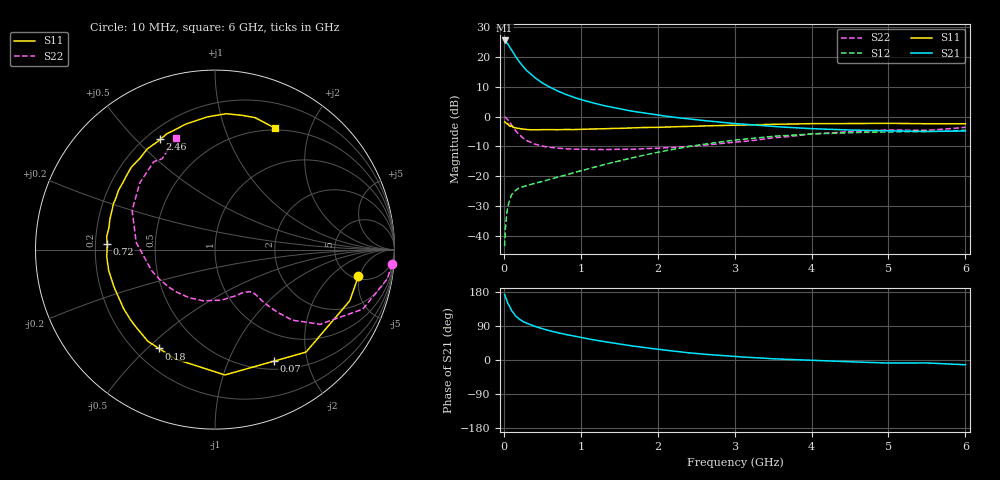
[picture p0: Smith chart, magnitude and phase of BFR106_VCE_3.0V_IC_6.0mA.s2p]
! Infineon Technologies  Discrete & RF Semiconductors
! BFR106
! VCE =  3.0 V,  IC =  6.0 mA
! Common Emitter S-Parameters:  Nov 2015
# GHz  S  MA  R  50
!  f  S11  S21  S12  S22
! GHz  MAG  ANG  MAG  ANG  MAG  ANG  MAG  ANG
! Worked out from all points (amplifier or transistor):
!   210 points, 10 MHz to 6 GHz, reference 50 ohm
!   highest |S21| = 25.5 dB at 10 MHz (marker M1)
!   |S21| within 3 dB of that: start of sweep to 96.81 MHz
!   unconditionally stable (mu >= 1): 593.8 MHz to 2.096 GHz; 4.669 GHz to end of sweep
!   at 185 MHz: K = 0.43, MSG = 21.6 dB, |S12| = -24.2 dB
!   at 1.52 GHz: K = 1.11, MAG = 6.6 dB, |S12| = -14.8 dB
!   at 6 GHz: K = 1.02, MAG = -1.0 dB, |S12| = -4.6 dB
!   S11 on the Smith chart (normalised r, x): 10 MHz: 5.50, -4.75; 70 MHz: 0.60, -1.48; 180 MHz: 0.30, -0.54; 720 MHz: 0.25, +0.03; 2.46 GHz: 0.25, +0.59; 6 GHz: 0.47, +1.50
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0.01  0.8128 -10.4  18.85 172.9  0.0067 84.7  0.9897 -4.7
0.02  0.8031 -20.8  18.5 167.4  0.0129 80.4  0.974 -9.6
0.05  0.7637 -48.4  16.59 150.3  0.0304 66.3  0.8883 -21.9
0.07  0.7024 -62.3  15.02 143.4  0.0375 59.2  0.8153 -26.6
0.1  0.7006 -85.5  13.19 130.4  0.0487 52.6  0.7187 -35.4
0.15  0.6484 -110.0  10.24 116.6  0.0575 43.9  0.5825 -42.4
0.18  0.6331 -119.6  9.062 111.9  0.061 42.2  0.5311 -43.9
0.2  0.6331 -126.2  8.316 108.1  0.0634 41.1  0.497 -45.0
0.24  0.6162 -135.9  7.16 102.8  0.066 39.6  0.4453 -46.2
0.3  0.6064 -146.8  5.85 96.5  0.0697 39.6  0.3947 -47.4
0.4  0.5999 -159.7  4.515 88.9  0.0757 41.5  0.3452 -47.8
0.5  0.6037 -168.9  3.651 82.4  0.0814 44.2  0.3185 -48.5
0.6  0.6045 -176.2  3.095 76.9  0.0887 46.9  0.3038 -50.5
0.72  0.6018 176.9  2.617 71.1  0.0976 50.0  0.2933 -53.5
1.02  0.6104 162.8  1.895 58.7  0.1247 55.9  0.2829 -62.8
1.4  0.6311 148.5  1.432 45.6  0.1677 59.4  0.2818 -78.6
2.02  0.6599 129.0  1.051 28.0  0.2542 57.0  0.295 -109.4
2.46  0.6861 116.4  0.897 17.9  0.3221 51.7  0.3202 -133.6
3.1  0.7205 101.3  0.746 8.0  0.4139 40.8  0.3803 -167.0
4.1  0.7595 83.9  0.619 -1.6  0.5148 22.2  0.5177 151.1
5.1  0.7657 72.0  0.573 -8.0  0.5539 6.9  0.594 124.0
6  0.7559 63.8  0.572 -12.6  0.5877 -3.7  0.6592 109.5
